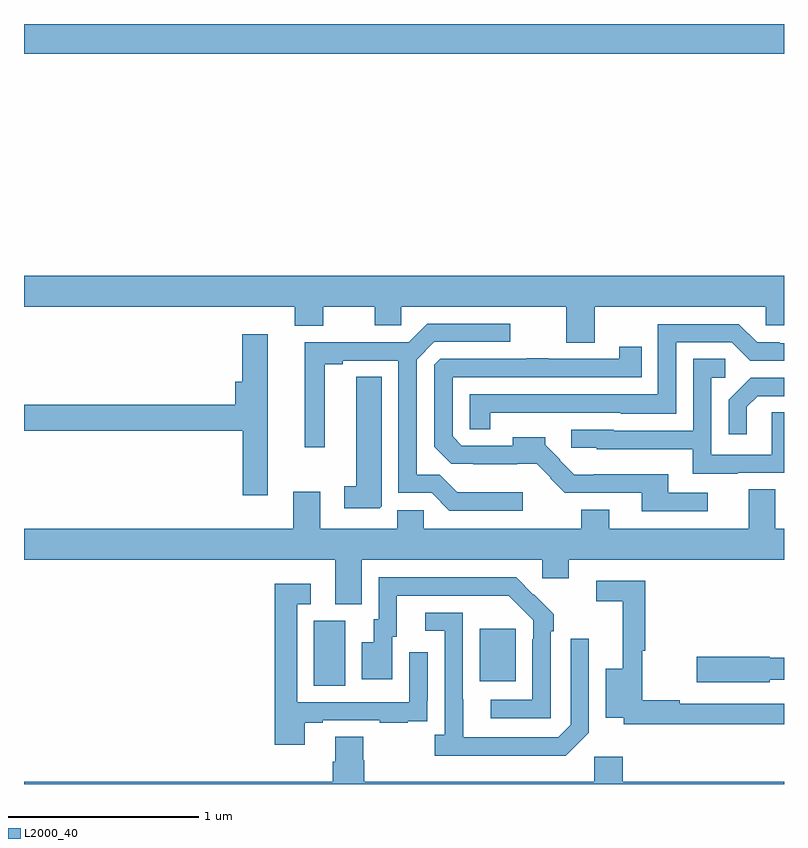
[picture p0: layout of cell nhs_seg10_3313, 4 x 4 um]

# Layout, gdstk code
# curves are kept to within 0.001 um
import gdstk
lib = gdstk.Library(unit=1e-6, precision=1e-09)
def R(c, l, rs):  # rectangles x0, y0, x1, y1
    for r in rs: c.add(gdstk.rectangle(r[:2], r[2:], *l))
def P(c, l, *ps):  # polygons
    for p in ps: c.add(gdstk.Polygon(p, *l))
L2000_40 = (2000, 40)

nhs_seg10_3313 = lib.new_cell('nhs_seg10_3313')
R(nhs_seg10_3313, L2000_40, [(292.526,1269.016,292.69,1269.36), (293.399,1269.041,293.587,1269.316), (291,1272.344,295,1272.5)])
P(nhs_seg10_3313, L2000_40, [(294.003,1271.012),(294.903,1271.012),(294.903,1270.914),(295,1270.914),(295,1271.176),(291,1271.176),(291,1271.012),(292.424,1271.012),(292.424,1270.913),(292.576,1270.913),(292.576,1271.012),(292.847,1271.012),(292.847,1270.914),(292.986,1270.914),(292.986,1271.012),(293.855,1271.012),(293.855,1270.822),(294.003,1270.822)],
  [(293.626,1270.036),(293.279,1270.036),(293.188,1270.127),(293.067,1270.127),(293.067,1270.734),(293.16,1270.827),(293.56,1270.827),(293.56,1270.923),(293.123,1270.923),(293.024,1270.824),(292.478,1270.824),(292.478,1270.272),(292.582,1270.272),(292.582,1270.708),(292.678,1270.708),(292.678,1270.728),(292.971,1270.728),(292.971,1270.032),(293.145,1270.032),(293.238,1269.939),(293.626,1269.939)],
  [(293.455,1270.454),(294.141,1270.455),(294.141,1270.448),(294.432,1270.448),(294.432,1270.824),(294.726,1270.824),(294.822,1270.728),(295,1270.728),(295,1270.821),(294.978,1270.821),(294.978,1270.824),(294.858,1270.824),(294.762,1270.92),(294.336,1270.92),(294.336,1270.551),(293.346,1270.551),(293.346,1270.366),(293.455,1270.366)],
  [(292.282,1270.867),(292.148,1270.867),(292.148,1270.618),(292.112,1270.618),(292.112,1270.496),(291,1270.496),(291,1270.36),(292.151,1270.36),(292.151,1270.02),(292.282,1270.02)],
  [(294.598,1270.032),(294.391,1270.032),(294.391,1270.129),(293.998,1270.129),(293.998,1270.127),(293.897,1270.127),(293.82,1270.203),(293.823,1270.206),(293.744,1270.285),(293.744,1270.324),(293.573,1270.324),(293.573,1270.281),(293.304,1270.281),(293.256,1270.329),(293.256,1270.641),(294.251,1270.641),(294.251,1270.801),(294.133,1270.801),(294.133,1270.737),(293.759,1270.737),(293.759,1270.742),(293.647,1270.742),(293.647,1270.737),(293.19,1270.737),(293.16,1270.707),(293.16,1270.275),(293.249,1270.186),(293.365,1270.186),(293.365,1270.184),(293.699,1270.185),(293.773,1270.111),(293.771,1270.109),(293.847,1270.032),(294.251,1270.032),(294.251,1269.936),(294.598,1269.936)],
  [(294.757,1270.137),(295,1270.137),(295,1270.457),(294.936,1270.457),(294.936,1270.233),(294.618,1270.233),(294.618,1270.638),(294.691,1270.638),(294.691,1270.739),(294.522,1270.739),(294.522,1270.359),(294.105,1270.359),(294.105,1270.365),(293.88,1270.365),(293.88,1270.269),(294.015,1270.269),(294.015,1270.262),(294.521,1270.262),(294.521,1270.133),(294.757,1270.133)],
  [(292.882,1269.961),(292.882,1270.643),(292.748,1270.643),(292.748,1270.067),(292.686,1270.067),(292.686,1269.951),(292.872,1269.951)],
  [(294.805,1270.485),(294.862,1270.542),(295,1270.542),(295,1270.638),(294.824,1270.638),(294.708,1270.522),(294.708,1270.341),(294.805,1270.341)],
  [(292.777,1269.68),(293.727,1269.68),(293.727,1269.582),(293.866,1269.582),(293.866,1269.68),(295,1269.68),(295,1269.844),(294.955,1269.844),(294.955,1270.052),(294.815,1270.052),(294.815,1269.844),(294.079,1269.844),(294.079,1269.943),(293.932,1269.943),(293.932,1269.844),(293.103,1269.844),(293.103,1269.942),(292.964,1269.942),(292.964,1269.844),(292.558,1269.844),(292.558,1270.039),(292.418,1270.039),(292.418,1269.844),(291,1269.844),(291,1269.68),(292.637,1269.68),(292.637,1269.445),(292.777,1269.445)],
  [(293.772,1269.305),(293.787,1269.305),(293.787,1269.393),(293.59,1269.588),(292.866,1269.588),(292.866,1269.366),(292.841,1269.366),(292.841,1269.247),(292.778,1269.247),(292.778,1269.051),(292.939,1269.051),(292.939,1269.276),(292.963,1269.276),(292.963,1269.492),(293.551,1269.492),(293.679,1269.363),(293.679,1269.263),(293.676,1269.263),(293.676,1268.943),(293.457,1268.943),(293.457,1268.847),(293.772,1268.847)],
  [(295,1268.922),(294.452,1268.922),(294.452,1268.942),(294.254,1268.942),(294.254,1269.202),(294.269,1269.202),(294.269,1269.57),(294.012,1269.57),(294.012,1269.462),(294.152,1269.462),(294.152,1269.106),(294.062,1269.106),(294.062,1268.849),(294.156,1268.849),(294.156,1268.814),(295,1268.814)],
  [(292.477,1268.823),(292.573,1268.823),(292.573,1268.835),(292.873,1268.835),(292.873,1268.823),(293.021,1268.823),(293.021,1268.829),(293.123,1268.829),(293.123,1268.938),(293.124,1268.938),(293.124,1269.193),(293.028,1269.193),(293.028,1268.931),(292.437,1268.931),(292.437,1269.447),(292.51,1269.447),(292.51,1269.553),(292.321,1269.553),(292.321,1268.706),(292.477,1268.706)],
  [(293.973,1268.769),(293.973,1269.265),(293.877,1269.265),(293.877,1268.811),(293.811,1268.745),(293.311,1268.745),(293.31,1269.402),(293.112,1269.402),(293.112,1269.306),(293.214,1269.306),(293.214,1268.758),(293.163,1268.758),(293.163,1268.648),(293.852,1268.648)],
  [(294.924,1269.048),(295,1269.048),(295,1269.164),(294.924,1269.164),(294.924,1269.17),(294.54,1269.17),(294.54,1269.035),(294.924,1269.035)],
  [(295,1268.512),(294.152,1268.512),(294.152,1268.644),(294,1268.644),(294,1268.512),(292.79,1268.512),(292.79,1268.625),(292.785,1268.625),(292.785,1268.75),(292.637,1268.75),(292.637,1268.618),(292.625,1268.618),(292.625,1268.512),(291,1268.512),(291,1268.5),(295,1268.5)])

lib.write_gds('nhs_seg10_3313.gds')
